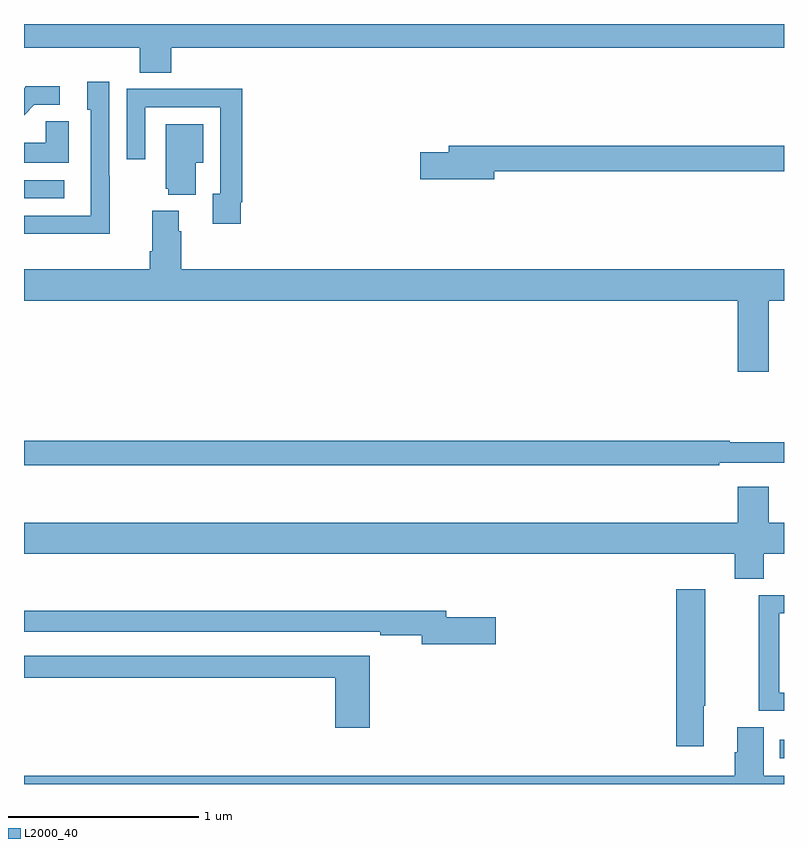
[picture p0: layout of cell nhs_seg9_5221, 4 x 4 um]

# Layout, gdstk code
import gdstk
lib = gdstk.Library(unit=1e-6, precision=1e-09)
def R(c, l, rs):  # rectangles x0, y0, x1, y1
    for r in rs: c.add(gdstk.rectangle(r[:2], r[2:], *l))
def P(c, l, *ps):  # polygons
    for p in ps: c.add(gdstk.Polygon(p, *l))
L2000_40 = (2000, 40)

nhs_seg9_5221 = lib.new_cell('nhs_seg9_5221')
R(nhs_seg9_5221, L2000_40, [(416.978,1236.636,417,1236.732), (413,1239.582,413.212,1239.678)])
P(nhs_seg9_5221, L2000_40, [(413.774,1240.376),(417,1240.376),(417,1240.5),(413,1240.5),(413,1240.376),(413.609,1240.376),(413.609,1240.243),(413.774,1240.243)],
  [(413.451,1239.701),(413.448,1239.701),(413.448,1240.195),(413.333,1240.195),(413.333,1240.05),(413.352,1240.05),(413.352,1239.492),(413,1239.492),(413,1239.395),(413.451,1239.395)],
  [(413.053,1240.074),(413.188,1240.074),(413.188,1240.172),(413.009,1240.172),(413,1240.163),(413,1240.021)],
  [(414.142,1239.562),(414.149,1239.562),(414.149,1240.16),(413.857,1240.16),(413.857,1240.158),(413.541,1240.158),(413.541,1239.789),(413.637,1239.789),(413.637,1240.062),(414.033,1240.062),(414.033,1239.606),(413.993,1239.606),(413.993,1239.45),(414.142,1239.45)],
  [(413.236,1239.989),(413.115,1239.989),(413.115,1239.874),(413,1239.874),(413,1239.77),(413.236,1239.77)],
  [(413.905,1239.77),(413.944,1239.77),(413.944,1239.973),(413.747,1239.973),(413.747,1239.633),(413.759,1239.633),(413.759,1239.602),(413.905,1239.602)],
  [(415.474,1239.724),(417,1239.724),(417,1239.86),(415.235,1239.86),(415.235,1239.824),(415.086,1239.824),(415.086,1239.682),(415.474,1239.682)],
  [(416.92,1239.044),(417,1239.044),(417,1239.208),(413.828,1239.208),(413.828,1239.41),(413.815,1239.41),(413.815,1239.517),(413.675,1239.517),(413.675,1239.304),(413.663,1239.304),(413.663,1239.208),(413,1239.208),(413,1239.044),(416.756,1239.044),(416.756,1238.67),(416.92,1238.67)],
  [(416.66,1238.19),(417,1238.19),(417,1238.299),(416.714,1238.299),(416.714,1238.306),(413,1238.306),(413,1238.178),(416.66,1238.178)],
  [(416.893,1237.712),(417,1237.712),(417,1237.876),(416.92,1237.876),(416.92,1238.065),(416.756,1238.065),(416.756,1237.876),(413,1237.876),(413,1237.712),(416.741,1237.712),(416.741,1237.579),(416.893,1237.579)],
  [(416.578,1236.911),(416.586,1236.911),(416.586,1237.525),(416.432,1237.525),(416.432,1236.699),(416.578,1236.699)],
  [(417,1236.981),(416.976,1236.981),(416.976,1237.398),(417,1237.398),(417,1237.494),(416.868,1237.494),(416.868,1236.885),(417,1236.885)],
  [(415.483,1237.377),(415.222,1237.377),(415.222,1237.411),(413,1237.411),(413,1237.302),(414.874,1237.302),(414.874,1237.282),(415.094,1237.282),(415.094,1237.235),(415.483,1237.235)],
  [(414.821,1237.176),(413,1237.176),(413,1237.06),(414.638,1237.06),(414.638,1236.795),(414.821,1236.795)],
  [(417,1236.544),(416.893,1236.544),(416.893,1236.8),(416.753,1236.8),(416.753,1236.666),(416.741,1236.666),(416.741,1236.544),(413,1236.544),(413,1236.5),(417,1236.5)])

lib.write_gds('nhs_seg9_5221.gds')
